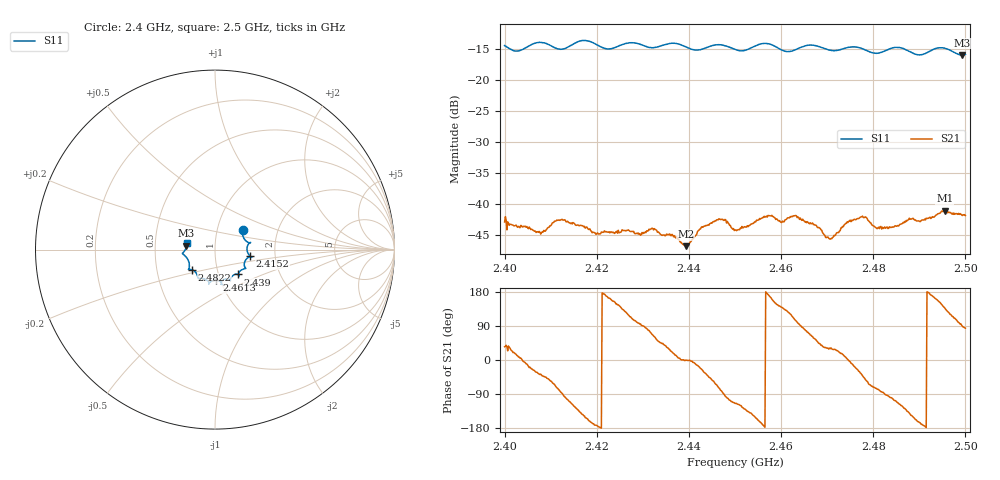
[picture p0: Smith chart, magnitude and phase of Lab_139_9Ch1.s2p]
# Hz S RI R 50
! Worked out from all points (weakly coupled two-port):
!   601 points, 2.4 GHz to 2.5 GHz, reference 50 ohm
!   highest |S21| = -41.10 dB at 2.4955 GHz (marker M1); lowest = -46.8 dB at 2.4393 GHz (marker M2)
!   lowest |S11| = -15.9 dB at 2.4993 GHz (marker M3), VSWR 1.38, Z = 36.3 + j1.62 ohm
!   |S11| at or under -10 dB: start of sweep to end of sweep
!   S12 and S22 are empty: the file has one direction only
!   S11 on the Smith chart (normalised r, x): 2.4 GHz: 1.33, +0.31; 2.4152 GHz: 1.48, -0.11; 2.439 GHz: 1.24, -0.36; 2.4613 GHz: 0.96, -0.34; 2.4822 GHz: 0.76, -0.17; 2.5 GHz: 0.73, +0.05
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2.4e9  0.1548 0.1114  0.00585 0.00411  0 0  0 0
2.402833e9  0.1596 0.0653  0.00636 0.00123  0 0  0 0
2.407833e9  0.1984 0.0401  0.00454 -0.00347  0 0  0 0
2.411333e9  0.1797 0.0161  0.00214 -0.0071  0 0  0 0
2.415167e9  0.1951 -0.0366  -0.00374 -0.00586  0 0  0 0
2.416667e9  0.2048 -0.0426  -0.00524 -0.00415  0 0  0 0
2.420333e9  0.186 -0.0438  -0.00571 -0.000392  0 0  0 0
2.433333e9  0.1319 -0.1323  0.00386 0.00453  0 0  0 0
2.439e9  0.1281 -0.1384  0.00463 -9.23e-05  0 0  0 0
2.439333e9  0.1256 -0.1374  0.00456 -9.21e-06  0 0  0 0
2.446167e9  0.0857 -0.174  0.00278 -0.00694  0 0  0 0
2.45e9  0.0684 -0.1638  -0.00256 -0.00561  0 0  0 0
2.456667e9  0.039 -0.195  -0.00788 4.94e-06  0 0  0 0
2.461333e9  0.00749 -0.1704  -0.0048 0.006  0 0  0 0
2.466667e9  -0.0334 -0.1898  0.00319 0.00619  0 0  0 0
2.470667e9  -0.0494 -0.1676  0.00451 0.00258  0 0  0 0
2.477333e9  -0.0955 -0.1549  0.00638 -0.00458  0 0  0 0
2.482167e9  -0.1283 -0.1123  0.000497 -0.00632  0 0  0 0
2.483333e9  -0.1397 -0.1107  -0.000584 -0.00633  0 0  0 0
2.4955e9  -0.1809 -0.0194  -0.00651 0.00594  0 0  0 0
2.499333e9  -0.1588 0.0218  0.000156 0.00807  0 0  0 0
2.5e9  -0.1584 0.034  0.000873 0.00801  0 0  0 0
